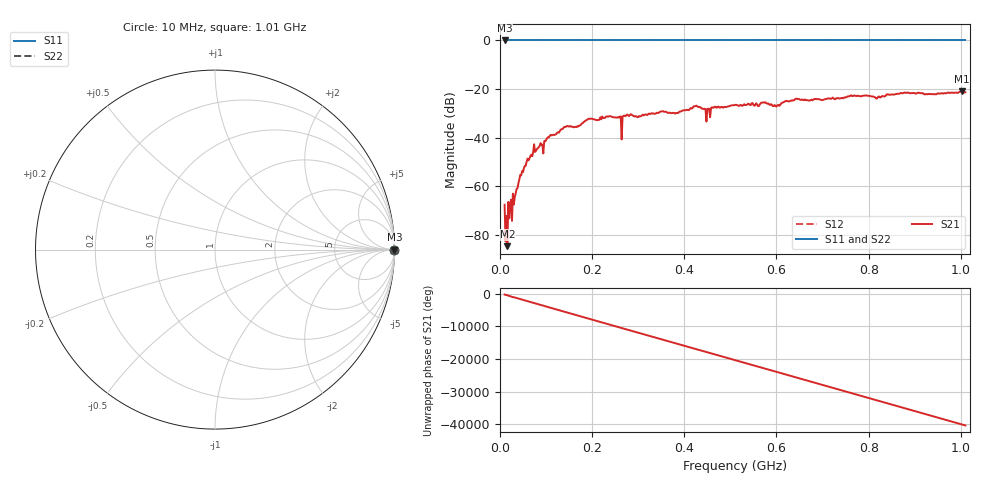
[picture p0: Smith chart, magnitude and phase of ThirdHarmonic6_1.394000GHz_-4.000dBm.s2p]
! 8/16/2025 3:53:57 PM
! C:\ANRITSUVNA\TEMP\TEMP.S2P
! CHANNEL.1
! TR.MEASUREMENT
! RAW.DATA
! RF.CORRECTION.OFF
! AVERAGING.OFF
! IF.BANDWIDTH: 5KHZ
! SWEEPTYPE:  FREQ.SWEEP(Linear)
! Reference Plane Port Info
! PORT:  PORT1  PORT2
! DISTANCE:  0  m  0  m
! TIME:  0  s  0  s
! PHASE.OFFSET:  0  deg.  0  deg.
! LOSS:  0  dB  0  dB
! REF.LOSS:  0  dB  0  dB
! REF.FREQ:  0  Hz  0  Hz
! Power Info
! POWER:  -20  dBm  -20  dBm
! EFF.POWER:  -20  dBm  -20  dBm
! SOURCE.ATTEN:  0  dB  0  dB
! TEST.ATTEN:  0  dB  0  dB
# GHZ S RI R 50.0
! FREQ.GHZ  S11RE  S11IM  S21RE  S21IM  S12RE  S12IM  S22RE  S22IM
!; PortSelection: Port_12
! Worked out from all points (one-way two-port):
!   501 points, 10 MHz to 1.01 GHz, reference 50 ohm
!   highest |S21| = -20.95 dB at 1.002 GHz (marker M1); lowest = -84.5 dB at 16 MHz (marker M2)
!   lowest |S11| = 0.0 dB at 10 MHz (marker M3)
!   |S11| at or under -10 dB: nowhere
!   |S22| runs from 0.0 to 0.0 dB; largest |S21 - S12| = 1.1
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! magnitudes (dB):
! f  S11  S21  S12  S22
! 10 MHz  0.0  -67.5  0.0  0.0
! 16 MHz  0.0  -84.5  0.0  0.0
! 44 MHz  0.0  -55.2  0.0  0.0
! 70 MHz  0.0  -47.6  0.0  0.0
! 142 MHz  0.0  -35.5  0.0  0.0
! 178 MHz  0.0  -34.1  0.0  0.0
! 194 MHz  0.0  -32.1  0.0  0.0
! 258 MHz  0.0  -31.7  0.0  0.0
! 260 MHz  0.0  -31.4  0.0  0.0
! 272 MHz  0.0  -31.1  0.0  0.0
! 344 MHz  0.0  -29.8  0.0  0.0
! 382 MHz  0.0  -29.8  0.0  0.0
! 424 MHz  0.0  -27.0  0.0  0.0
! 452 MHz  0.0  -28.1  0.0  0.0
! 462 MHz  0.0  -27.6  0.0  0.0
! 510 MHz  0.0  -26.5  0.0  0.0
! 596 MHz  0.0  -26.5  0.0  0.0
! 644 MHz  0.0  -24.0  0.0  0.0
! 678 MHz  0.0  -24.6  0.0  0.0
! 844 MHz  0.0  -22.3  0.0  0.0
! 1.002 GHz  0.0  -20.9  0.0  0.0
! 1.01 GHz  0.0  -21.3  0.0  0.0
